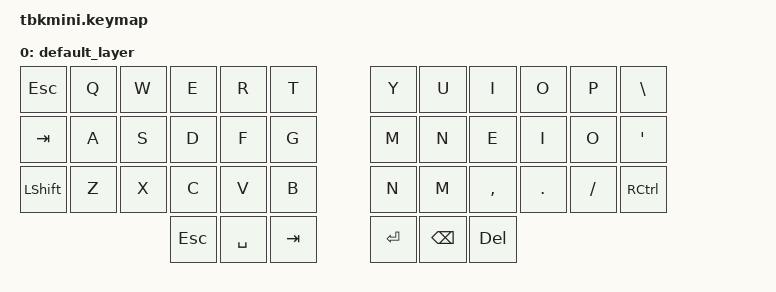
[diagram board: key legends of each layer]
#include <behaviors.dtsi>
#include <dt-bindings/zmk/keys.h>
#include <dt-bindings/zmk/bt.h>

/ {
	keymap {
		compatible = "zmk,keymap";

		default_layer {
// ---------------------------------------------------------------------------------------------------------------------------------
// |  ESC  |  Q  |  W  |  F   |  P   |  T   |    |  J   |  L   |  U  |  Y  |  '  |   \  |
// |  TAB  |  A  |  R  |  S   |  T   |  G   |    |  M   |  N   |  E  |  I  |  O  |   '  |
// | SHIFT |  Z  |  X  |  C   |  D   |  V   |    |  K   |  H   |  ,  |  .  |  /  | CTRL |
//                     | ESC  | SPC  | TAB  |    | RET  | BSPC | DEL |
			bindings = <
	&kp ESC   &kp Q &kp W &kp E &kp R &kp T         &kp Y &kp U  &kp I     &kp O   &kp P    &kp BSLH
	&kp TAB   &kp A &kp S &kp D &kp F &kp G         &kp M &kp N  &kp E     &kp I   &kp O    &kp SQT
	&kp LSHFT &kp Z &kp X &kp C &kp V &kp B         &kp N &kp M  &kp COMMA &kp DOT &kp FSLH &kp RCTRL
	                &kp ESC  &kp SPC &kp TAB         &kp RET &kp BSPC &kp DEL
			>;
		};
	};
};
